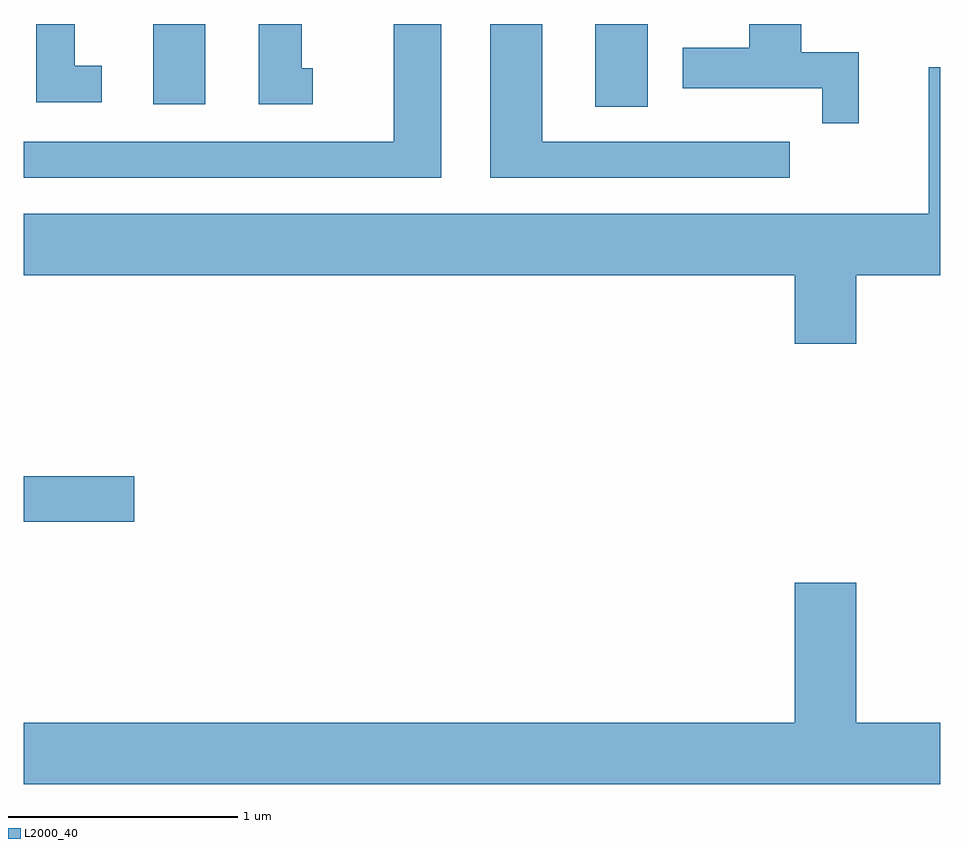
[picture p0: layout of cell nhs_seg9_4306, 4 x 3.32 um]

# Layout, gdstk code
import gdstk
lib = gdstk.Library(unit=1e-6, precision=1e-09)
def R(c, l, rs):  # rectangles x0, y0, x1, y1
    for r in rs: c.add(gdstk.rectangle(r[:2], r[2:], *l))
def P(c, l, *ps):  # polygons
    for p in ps: c.add(gdstk.Polygon(p, *l))
L2000_40 = (2000, 40)

nhs_seg9_4306 = lib.new_cell('nhs_seg9_4306')
R(nhs_seg9_4306, L2000_40, [(311.611,2026.261,312.094,2026.459), (314.106,2028.071,314.334,2028.432), (312.176,2028.081,312.404,2028.432)])
P(nhs_seg9_4306, L2000_40, [(312.873,2028.239),(312.824,2028.239),(312.824,2028.432),(312.636,2028.432),(312.636,2028.081),(312.873,2028.081)],
  [(311.953,2028.249),(311.834,2028.249),(311.834,2028.432),(311.666,2028.432),(311.666,2028.091),(311.953,2028.091)],
  [(315.254,2028.309),(315.004,2028.309),(315.004,2028.432),(314.776,2028.432),(314.776,2028.329),(314.486,2028.329),(314.486,2028.151),(315.096,2028.151),(315.096,2027.998),(315.254,2027.998)],
  [(314.953,2027.919),(313.874,2027.919),(313.874,2028.432),(313.646,2028.432),(313.646,2027.761),(314.953,2027.761)],
  [(313.434,2028.432),(313.226,2028.432),(313.226,2027.919),(311.611,2027.919),(311.611,2027.761),(313.434,2027.761)],
  [(315.244,2027.336),(315.611,2027.336),(315.611,2028.243),(315.561,2028.243),(315.561,2027.604),(311.611,2027.604),(311.611,2027.336),(314.976,2027.336),(314.976,2027.036),(315.244,2027.036)],
  [(315.611,2025.384),(315.244,2025.384),(315.244,2025.994),(314.976,2025.994),(314.976,2025.384),(311.611,2025.384),(311.611,2025.116),(315.611,2025.116)])

lib.write_gds('nhs_seg9_4306.gds')
